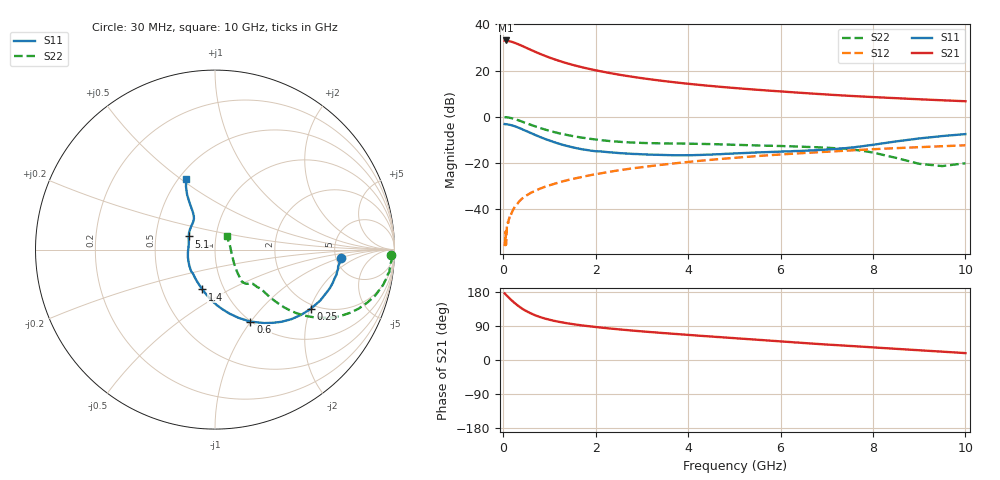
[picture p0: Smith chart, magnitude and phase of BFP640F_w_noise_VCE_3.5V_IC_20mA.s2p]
! Infineon Technologies  Discrete & RF Semiconductors
! BFP640F
! VCE =  3.5 V,  IC =  20 mA
! Common Emitter S-Parameters:  Apr 2013
# GHz  S  MA  R  50
!  f  S11  S21  S12  S22
! GHz  MAG  ANG  MAG  ANG  MAG  ANG  MAG  ANG
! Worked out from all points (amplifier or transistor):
!   99 points, 30 MHz to 10 GHz, reference 50 ohm
!   highest |S21| = 33.1 dB at 50 MHz (marker M1)
!   |S21| within 3 dB of that: start of sweep to 480.6 MHz
!   unconditionally stable (mu >= 1): 2.226 GHz to end of sweep
!   at 350 MHz: K = 0.36, MSG = 33.8 dB, |S12| = -36.5 dB
!   at 3.5 GHz: K = 1.05, MAG = 16.6 dB, |S12| = -20.5 dB
!   at 10 GHz: K = 1.05, MAG = 8.2 dB, |S12| = -12.3 dB
!   lowest NFmin = 0.82 dB at 450 MHz
!   S11 on the Smith chart (normalised r, x): 30 MHz: 5.50, -1.00; 250 MHz: 1.86, -2.02; 600 MHz: 0.99, -1.00; 1.4 GHz: 0.79, -0.37; 5.1 GHz: 0.74, +0.11; 10 GHz: 0.55, +0.52
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0.03  0.701 -3.8  44.73 175.8  0.0016 68.4  0.9835 -1.8
0.05  0.6972 -6.5  45.04 173.4  0.0033 96.2  0.9855 -3.6
0.06  0.6923 -7.7  44.62 171.9  0.0017 59.9  0.9816 -4.6
0.09  0.6906 -11.8  44.3 168.3  0.0046 96.1  0.9796 -7.3
0.15  0.6708 -19.7  43.02 161.1  0.007 79.0  0.954 -12.3
0.25  0.6273 -31.7  39.96 150.1  0.0114 78.3  0.8974 -19.3
0.3  0.6026 -37.1  38.17 145.2  0.013 76.3  0.8646 -22.4
0.4  0.5472 -47.3  34.67 136.3  0.0168 72.2  0.7959 -27.5
0.5  0.4939 -56.0  31.24 129.0  0.0199 71.3  0.7316 -31.3
0.6  0.4472 -63.8  28.12 122.8  0.0229 69.9  0.6731 -34.2
0.7  0.4038 -70.7  25.4 117.6  0.0254 68.9  0.6201 -36.4
0.8  0.3666 -77.1  23.04 113.2  0.0282 68.3  0.5747 -38.0
0.9  0.3349 -82.9  21.02 109.5  0.0307 68.1  0.5349 -39.1
1.1  0.2848 -93.5  17.73 103.4  0.0356 67.6  0.47 -40.3
1.4  0.2328 -107.7  14.27 96.6  0.0431 67.0  0.4029 -40.9
1.7  0.2001 -121.1  11.9 91.4  0.0501 66.3  0.3565 -40.6
2.4  0.1689 -148.1  8.554 82.1  0.0675 64.5  0.2954 -41.9
3.4  0.1509 -176.4  6.1 71.7  0.0916 60.5  0.2679 -44.5
5.1  0.1635 153.4  4.145 56.8  0.1325 52.8  0.2481 -48.8
6.7  0.1892 132.5  3.193 43.2  0.1697 44.2  0.2221 -49.9
8.5  0.295 118.6  2.542 29.5  0.2112 34.3  0.1299 -35.5
10  0.4247 112.2  2.183 18.2  0.2432 25.8  0.0996 49.6
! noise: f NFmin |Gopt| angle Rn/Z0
0.45  0.82  0.01  19  0.06
0.9  0.82  0.01  55  0.06
1.5  0.85  0.01  87  0.07
1.9  0.87  0.02  120  0.07
2.4  0.9  0.03  140  0.08
3.5  0.98  0.05  171  0.09
5.5  1.16  0.18  -132  0.12
10  1.64  0.41  -89  0.39
